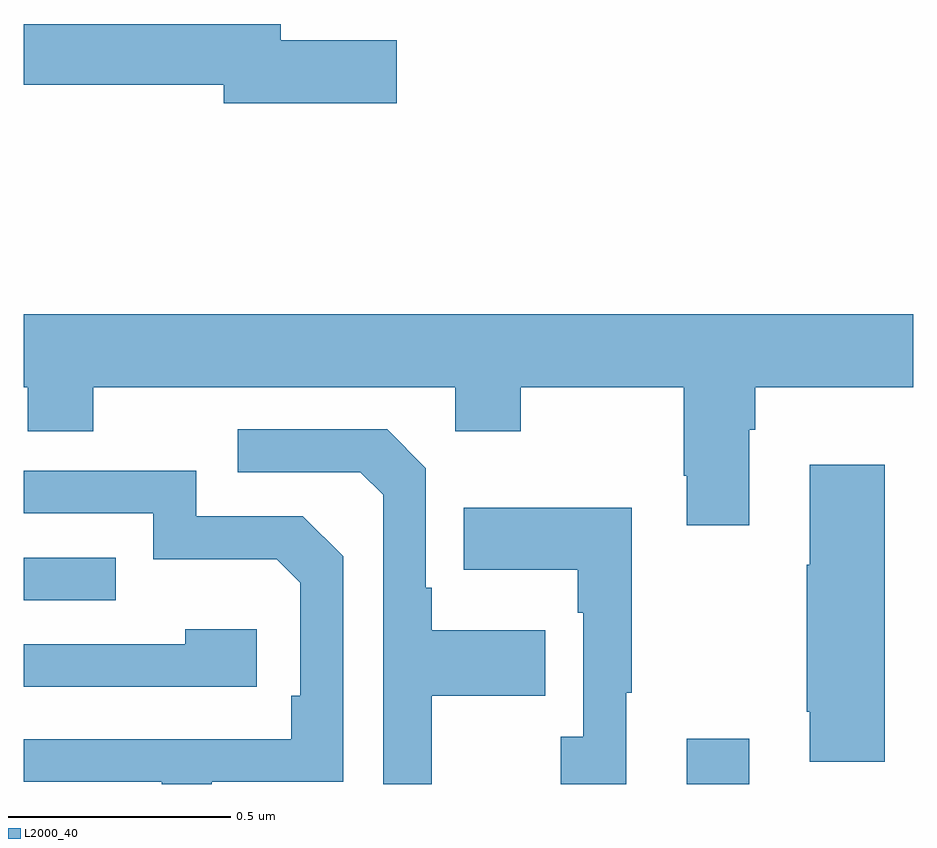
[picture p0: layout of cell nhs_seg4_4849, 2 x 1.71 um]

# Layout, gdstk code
import gdstk
lib = gdstk.Library(unit=1e-6, precision=1e-09)
def R(c, l, rs):  # rectangles x0, y0, x1, y1
    for r in rs: c.add(gdstk.rectangle(r[:2], r[2:], *l))
def P(c, l, *ps):  # polygons
    for p in ps: c.add(gdstk.Polygon(p, *l))
L2000_40 = (2000, 40)

nhs_seg4_4849 = lib.new_cell('nhs_seg4_4849')
R(nhs_seg4_4849, L2000_40, [(171.491,823.9,171.631,824.002), (170,824.313,170.207,824.409)])
P(nhs_seg4_4849, L2000_40, [(170.839,825.572),(170.578,825.572),(170.578,825.608),(170,825.608),(170,825.472),(170.45,825.472),(170.45,825.43),(170.839,825.43)],
  [(171.631,824.696),(171.644,824.696),(171.644,824.792),(172,824.792),(172,824.956),(170,824.956),(170,824.792),(170.009,824.792),(170.009,824.693),(170.157,824.693),(170.157,824.792),(170.97,824.792),(170.97,824.693),(171.117,824.693),(171.117,824.792),(171.484,824.792),(171.484,824.593),(171.491,824.593),(171.491,824.481),(171.631,824.481)],
  [(170.917,824.098),(171.173,824.098),(171.173,824.245),(170.917,824.245),(170.917,824.341),(170.904,824.341),(170.904,824.61),(170.817,824.697),(170.481,824.697),(170.481,824.601),(170.757,824.601),(170.808,824.55),(170.808,823.9),(170.917,823.9)],
  [(171.935,824.617),(171.767,824.617),(171.767,824.393),(171.76,824.393),(171.76,824.062),(171.767,824.062),(171.767,823.95),(171.935,823.95)],
  [(170.423,823.905),(170.718,823.905),(170.718,824.412),(170.628,824.502),(170.388,824.502),(170.388,824.604),(170,824.604),(170,824.508),(170.292,824.508),(170.292,824.405),(170.569,824.405),(170.622,824.352),(170.622,824.098),(170.602,824.098),(170.602,824.001),(170,824.001),(170,823.905),(170.311,823.905),(170.311,823.9),(170.423,823.9)],
  [(171.355,824.105),(171.367,824.105),(171.367,824.521),(170.989,824.521),(170.989,824.381),(171.246,824.381),(171.246,824.285),(171.258,824.285),(171.258,824.006),(171.207,824.006),(171.207,823.9),(171.355,823.9)],
  [(170.524,824.248),(170.363,824.248),(170.363,824.214),(170,824.214),(170,824.118),(170.524,824.118)])

lib.write_gds('nhs_seg4_4849.gds')
